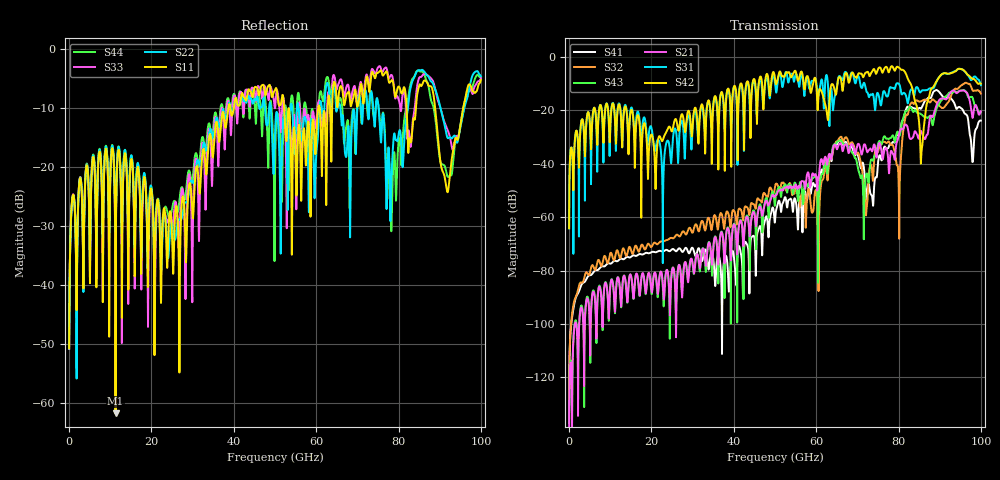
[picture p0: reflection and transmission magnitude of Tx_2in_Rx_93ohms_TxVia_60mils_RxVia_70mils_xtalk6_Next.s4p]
! Info: Touchstone file created by Circ.  Input file=Tx_2in_Rx_93ohms_TxVia_60mils_RxVia_70mils.circ
# Hz S RI R 50
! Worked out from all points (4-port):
!   10000 points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, 10 MHz to 100 GHz, reference 50 ohm
!   strongest paths, dB at 10 MHz, 25.01 GHz, 50.01 GHz, 75.01 GHz, 100 GHz:
!     S42: -64.2, -27.8, -8.2, -4.6, -10.0
!     S31: -64.2, -34.9, -9.9, -13.6, -10.6
!     S21: -139.2, -80.0, -52.1, -33.6, -20.4
!     S43: -137.2, -79.7, -55.4, -32.7, -20.7
!     S32: -130.3, -67.8, -48.6, -35.6, -13.7
!     S41: -130.3, -72.0, -61.5, -39.8, -23.8
!   lowest |S11| = -61.7 dB at 11.28 GHz (marker M1), VSWR 1.00, Z = 50.1 + j0.0142 ohm
!   |S11| at or under -10 dB: start of sweep to 38.65 GHz; 53.37 GHz to 60.47 GHz (7.095 GHz wide, 12.5 % of centre); 88.9 GHz to 95.7 GHz (6.798 GHz wide, 7.36 % of centre) (the widest 3 of 8)
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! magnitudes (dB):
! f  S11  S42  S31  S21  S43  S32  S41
! 10 MHz  -50.7  -64.2  -64.2  -139.2  -137.2  -130.3  -130.3
! 11.28 GHz  -61.7  -28.8  -30.4  -91.2  -91.6  -74.0  -76.4
! 40.45 GHz  -8.2  -11.8  -12.5  -64.9  -64.3  -59.7  -82.2
! 65.82 GHz  -6.4  -7.6  -7.3  -32.4  -31.2  -30.1  -31.2
! 72.17 GHz  -4.9  -5.8  -12.8  -34.5  -44.1  -58.1  -52.7
! 85.61 GHz  -6.1  -34.9  -12.6  -28.3  -21.6  -16.5  -19.0
! 100 GHz  -5.2  -10.0  -10.6  -20.4  -20.7  -13.7  -23.8
